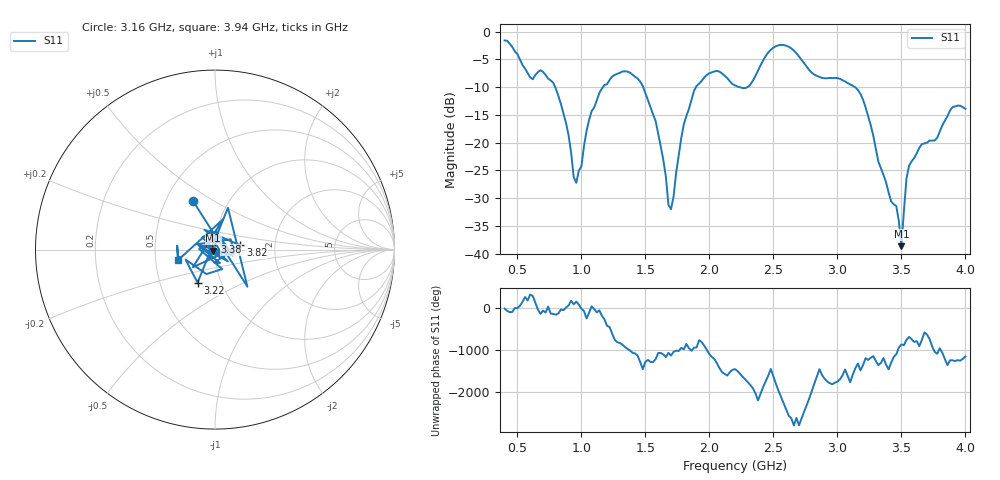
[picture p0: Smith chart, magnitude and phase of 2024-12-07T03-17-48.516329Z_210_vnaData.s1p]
!Created with skrf (http://scikit-rf.org).
# Hz S RI R 50.0
!freq ReS11 ImS11
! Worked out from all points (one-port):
!   181 points, 400 MHz to 4 GHz, reference 50 ohm
!   lowest |S11| = -38.6 dB at 3.5 GHz (marker M1), VSWR 1.02, Z = 49 - j0.57 ohm
!   |S11| at or under -10 dB: 795 MHz to 1.168 GHz (373.4 MHz wide, 38 % of centre); 1.483 GHz to 1.895 GHz (412.7 MHz wide, 24.4 % of centre); 3.137 GHz to end of sweep (the widest 3 of 4)
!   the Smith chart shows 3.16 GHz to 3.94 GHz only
!   S11 on the Smith chart (normalised r, x): 3.16 GHz: 0.68, +0.41; 3.22 GHz: 0.77, -0.30; 3.38 GHz: 0.99, +0.09; 3.82 GHz: 1.33, +0.06; 3.94 GHz: 0.65, -0.08
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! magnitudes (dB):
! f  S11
! 400 MHz  -1.6
! 600 MHz  -8.2
! 780 MHz  -9.2
! 860 MHz  -14.7
! 960 MHz  -27.2
! 1.08 GHz  -14.3
! 1.3 GHz  -7.4
! 1.48 GHz  -9.8
! 1.58 GHz  -16.1
! 1.7 GHz  -32.0
! 1.76 GHz  -22.3
! 1.9 GHz  -9.8
! 2.06 GHz  -7.1
! 2.2 GHz  -9.7
! 2.32 GHz  -9.5
! 2.5 GHz  -2.9
! 2.66 GHz  -3.4
! 3.1 GHz  -9.5
! 3.16 GHz  -10.5
! 3.22 GHz  -13.6
! 3.38 GHz  -27.1
! 3.46 GHz  -31.4
! 3.5 GHz  -38.6
! 3.54 GHz  -26.4
! 3.56 GHz  -24.2
! 3.82 GHz  -16.9
! 3.94 GHz  -13.3
! 4 GHz  -13.9
